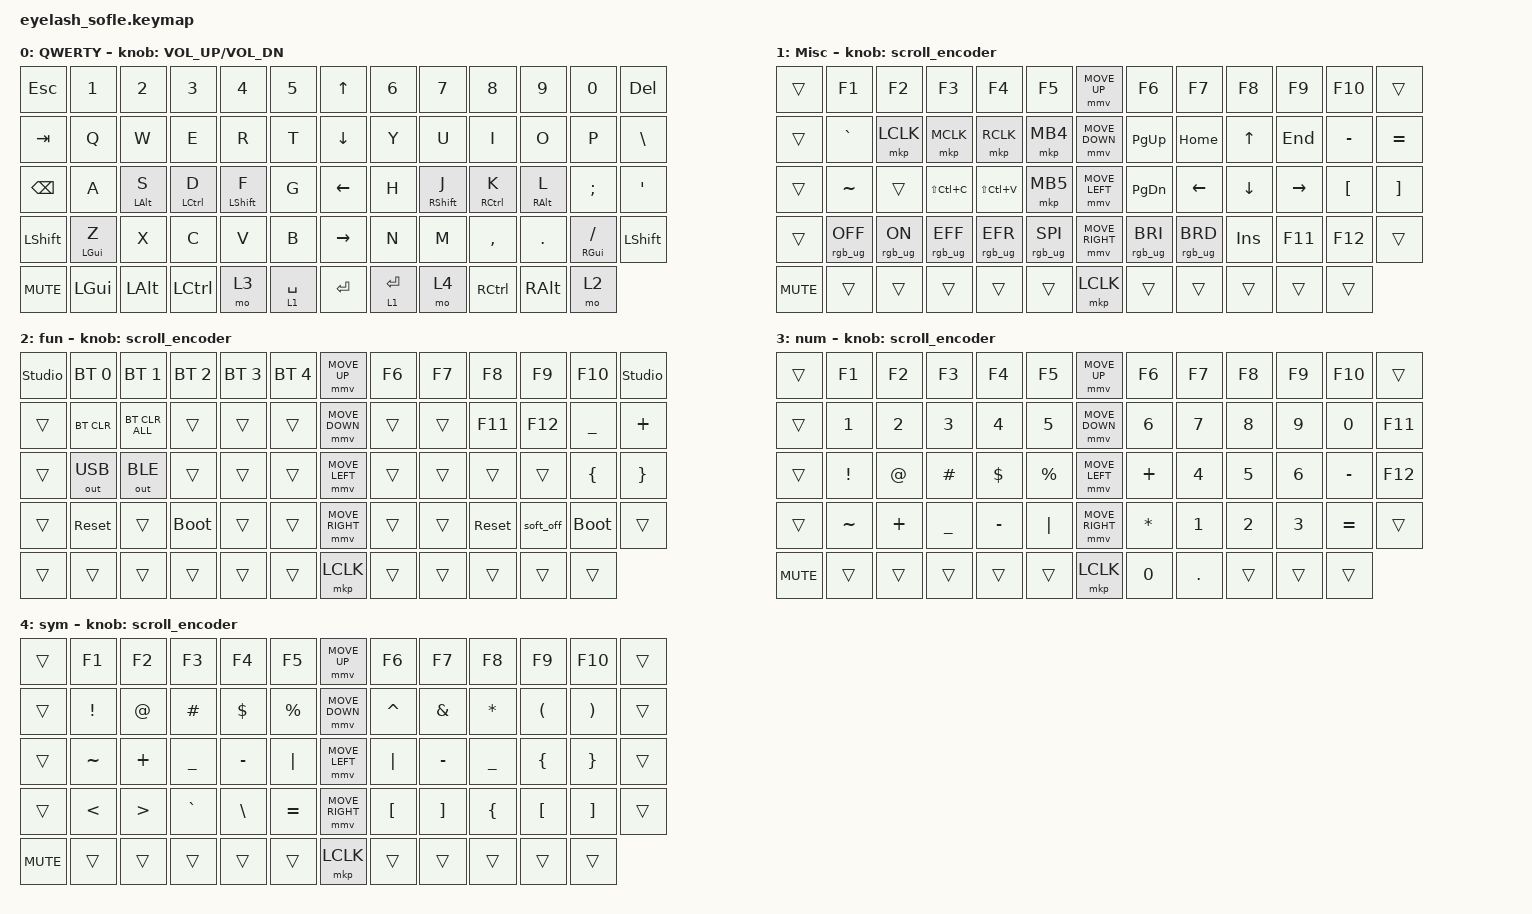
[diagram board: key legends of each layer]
#define ZMK_POINTING_DEFAULT_MOVE_VAL 1200  // 600
#define ZMK_POINTING_DEFAULT_SCRL_VAL 35    // 10

#include <input/processors.dtsi>
#include <dt-bindings/zmk/mouse.h>
#include <behaviors.dtsi>
#include <dt-bindings/zmk/bt.h>
#include <dt-bindings/zmk/keys.h>
#include <dt-bindings/zmk/outputs.h>
#include <dt-bindings/zmk/pointing.h>
#include <dt-bindings/zmk/rgb.h>

/ {
    zip_scroll_scaler: zip_scroll_scaler {
        compatible = "zmk,input-processor-scaler";
        #input-processor-cells = <2>;
        type = <INPUT_EV_REL>;
        codes = <INPUT_REL_WHEEL INPUT_REL_HWHEEL>;
        track-remainders;
    };
};

&mmv_input_listener { input-processors = <&zip_xy_scaler 2 1>; };

&msc_input_listener { input-processors = <&zip_scroll_scaler 2 1>; };

&msc {
    acceleration-exponent = <0>;      // 0
    time-to-max-speed-ms = <0>;       // 300
    delay-ms = <0>;                   // 0
};

&mmv {
    time-to-max-speed-ms = <400>;
    acceleration-exponent = <1>;
};

/ {
    behaviors {
        // Positional Homerow mods
        // Homerow mods that prevent accidental activations when rolling keys,
        // such as when typing `st` or `ne` on colemak-dh layouts or `as` on
        // qwerty.
        //
        // Works by only allowing a mod to activate within tapping-term if
        // it's on the opposite side of the keyboard or on the same side thumb
        // keys.
        // Further optimization using urob's timerless homerow mods method:
        // https://github.com/urob/zmk-config#timeless-homerow-mods

        hm_l: homerow_mods_left {
            compatible = "zmk,behavior-hold-tap";
            #binding-cells = <2>;
            bindings = <&kp>, <&kp>;

            flavor = "balanced";
            tapping-term-ms = <280>;
            quick-tap-ms = <175>;                // repeat on tap-into-hold
            require-prior-idle-ms = <175>;
            hold-trigger-key-positions = <6 7 20 21 22 35 36 45 46 47 8 9 10 11 12 23 24 25 37 38 19 34 58 32 33 48 49 50 51 63 62 61 60 59 57 56 55 54 53>;
            hold-trigger-on-release;
        };

        hm_r: homerow_mods_right {
            compatible = "zmk,behavior-hold-tap";
            #binding-cells = <2>;
            bindings = <&kp>, <&kp>;

            flavor = "balanced";
            tapping-term-ms = <280>;
            quick-tap-ms = <175>;
            require-prior-idle-ms = <175>;
            hold-trigger-key-positions = <0 1 2 3 4 5 13 14 15 16 17 18 28 29 30 31 42 43 44 52 57 56 55 54 53 41 40 27 26 39 59 60 61 62 63>;
            hold-trigger-on-release;
        };

        layer_tap: layer_tap {
            compatible = "zmk,behavior-hold-tap";
            label = "LAYER_TAP";
            bindings = <&mo>, <&kp>;

            #binding-cells = <2>;
            quick-tap-ms = <175>;
            flavor = "tap-preferred";
            tapping-term-ms = <280>;
        };

        scroll_encoder: scroll_encoder {
            compatible = "zmk,behavior-sensor-rotate";
            #sensor-binding-cells = <0>;
            bindings = <&msc SCRL_DOWN>, <&msc SCRL_UP>;

            tap-ms = <100>;
        };
    };

    keymap {
        compatible = "zmk,keymap";

        layer0 {
            bindings = <
&kp ESC        &kp N1            &kp N2            &kp N3                &kp N4              &kp N5         &kp UP_ARROW     &kp N6       &kp N7               &kp N8                 &kp N9             &kp N0                 &kp DELETE
&kp TAB        &kp Q             &kp W             &kp E                 &kp R               &kp T          &kp DOWN_ARROW   &kp Y        &kp U                &kp I                  &kp O              &kp P                  &kp BSLH
&kp BACKSPACE  &kp A             &hm_l LEFT_ALT S  &hm_l LEFT_CONTROL D  &hm_l LEFT_SHIFT F  &kp G          &kp LEFT_ARROW   &kp H        &hm_r RIGHT_SHIFT J  &hm_r RIGHT_CONTROL K  &hm_r RIGHT_ALT L  &kp SEMI               &kp APOS
&kp LSHFT      &hm_l LEFT_GUI Z  &kp X             &kp C                 &kp V               &kp B          &kp RIGHT_ARROW  &kp N        &kp M                &kp COMMA              &kp DOT            &hm_r RIGHT_GUI SLASH  &kp LEFT_SHIFT
&kp C_MUTE     &kp LEFT_GUI      &kp LEFT_ALT      &kp LEFT_CONTROL      &mo 3               &lt 1 SPACE    &kp ENTER        &lt 1 ENTER  &mo 4                &kp RIGHT_CONTROL      &kp RIGHT_ALT      &mo 2
            >;

            sensor-bindings = <&inc_dec_kp C_VOLUME_UP C_VOL_DN>;
            display-name = "QWERTY";
        };

        layer_1 {
            bindings = <
&trans      &kp F1           &kp F2          &kp F3           &kp F4           &kp F5             &mmv MOVE_UP     &kp F6           &kp F7           &kp F8      &kp F9     &kp F10           &trans
&trans      &kp GRAVE        &mkp LCLK       &mkp MCLK        &mkp RCLK        &mkp MB4           &mmv MOVE_DOWN   &kp PG_UP        &kp HOME         &kp UP      &kp END    &kp MINUS         &kp EQUAL
&trans      &kp TILDE        &trans          &kp LS(LC(C))    &kp LS(LC(V))    &mkp MB5           &mmv MOVE_LEFT   &kp PG_DN        &kp LEFT         &kp DOWN    &kp RIGHT  &kp LEFT_BRACKET  &kp RIGHT_BRACKET
&trans      &rgb_ug RGB_OFF  &rgb_ug RGB_ON  &rgb_ug RGB_EFF  &rgb_ug RGB_EFR  &rgb_ug RGB_SPI    &mmv MOVE_RIGHT  &rgb_ug RGB_BRI  &rgb_ug RGB_BRD  &kp INSERT  &kp F11    &kp F12           &trans
&kp C_MUTE  &trans           &trans          &trans           &trans           &trans             &mkp LCLK        &trans           &trans           &trans      &trans     &trans
            >;

            display-name = "Misc";
            sensor-bindings = <&scroll_encoder>;
        };

        fun {
            bindings = <
&studio_unlock  &bt BT_SEL 0  &bt BT_SEL 1    &bt BT_SEL 2  &bt BT_SEL 3  &bt BT_SEL 4    &mmv MOVE_UP     &kp F6  &kp F7  &kp F8      &kp F9     &kp F10      &studio_unlock
&trans          &bt BT_CLR    &bt BT_CLR_ALL  &trans        &trans        &trans          &mmv MOVE_DOWN   &trans  &trans  &kp F11     &kp F12    &kp UNDER    &kp PLUS
&trans          &out OUT_USB  &out OUT_BLE    &trans        &trans        &trans          &mmv MOVE_LEFT   &trans  &trans  &trans      &trans     &kp LBRC     &kp RBRC
&trans          &sys_reset    &trans          &bootloader   &trans        &trans          &mmv MOVE_RIGHT  &trans  &trans  &sys_reset  &soft_off  &bootloader  &trans
&trans          &trans        &trans          &trans        &trans        &trans          &mkp LCLK        &trans  &trans  &trans      &trans     &trans
            >;

            sensor-bindings = <&scroll_encoder>;
        };

        num {
            display-name = "num";
            bindings = <
&trans      &kp F1           &kp F2       &kp F3          &kp F4      &kp F5         &mmv MOVE_UP     &kp F6        &kp F7      &kp F8  &kp F9  &kp F10    &trans
&trans      &kp N1           &kp N2       &kp N3          &kp N4      &kp N5         &mmv MOVE_DOWN   &kp N6        &kp N7      &kp N8  &kp N9  &kp N0     &kp F11
&trans      &kp EXCLAMATION  &kp AT_SIGN  &kp HASH        &kp DOLLAR  &kp PERCENT    &mmv MOVE_LEFT   &kp PLUS      &kp N4      &kp N5  &kp N6  &kp MINUS  &kp F12
&trans      &kp TILDE        &kp PLUS     &kp UNDERSCORE  &kp MINUS   &kp PIPE       &mmv MOVE_RIGHT  &kp ASTERISK  &kp N1      &kp N2  &kp N3  &kp EQUAL  &trans
&kp C_MUTE  &trans           &trans       &trans          &trans      &trans         &mkp LCLK        &kp N0        &kp PERIOD  &trans  &trans  &trans
            >;

            sensor-bindings = <&scroll_encoder>;
        };

        sym {
            display-name = "sym";
            bindings = <
&trans      &kp F1           &kp F2            &kp F3          &kp F4         &kp F5         &mmv MOVE_UP     &kp F6            &kp F7             &kp F8          &kp F9                &kp F10                &trans
&trans      &kp EXCLAMATION  &kp AT_SIGN       &kp HASH        &kp DOLLAR     &kp PERCENT    &mmv MOVE_DOWN   &kp CARET         &kp AMPERSAND      &kp ASTERISK    &kp LEFT_PARENTHESIS  &kp RIGHT_PARENTHESIS  &trans
&trans      &kp TILDE        &kp PLUS          &kp UNDERSCORE  &kp MINUS      &kp PIPE       &mmv MOVE_LEFT   &kp PIPE          &kp MINUS          &kp UNDERSCORE  &kp LEFT_BRACE        &kp RIGHT_BRACE        &trans
&trans      &kp LESS_THAN    &kp GREATER_THAN  &kp GRAVE       &kp BACKSLASH  &kp EQUAL      &mmv MOVE_RIGHT  &kp LEFT_BRACKET  &kp RIGHT_BRACKET  &kp LEFT_BRACE  &kp LEFT_BRACKET      &kp RIGHT_BRACKET      &trans
&kp C_MUTE  &trans           &trans            &trans          &trans         &trans         &mkp LCLK        &trans            &trans             &trans          &trans                &trans
            >;

            sensor-bindings = <&scroll_encoder>;
        };
    };
};
